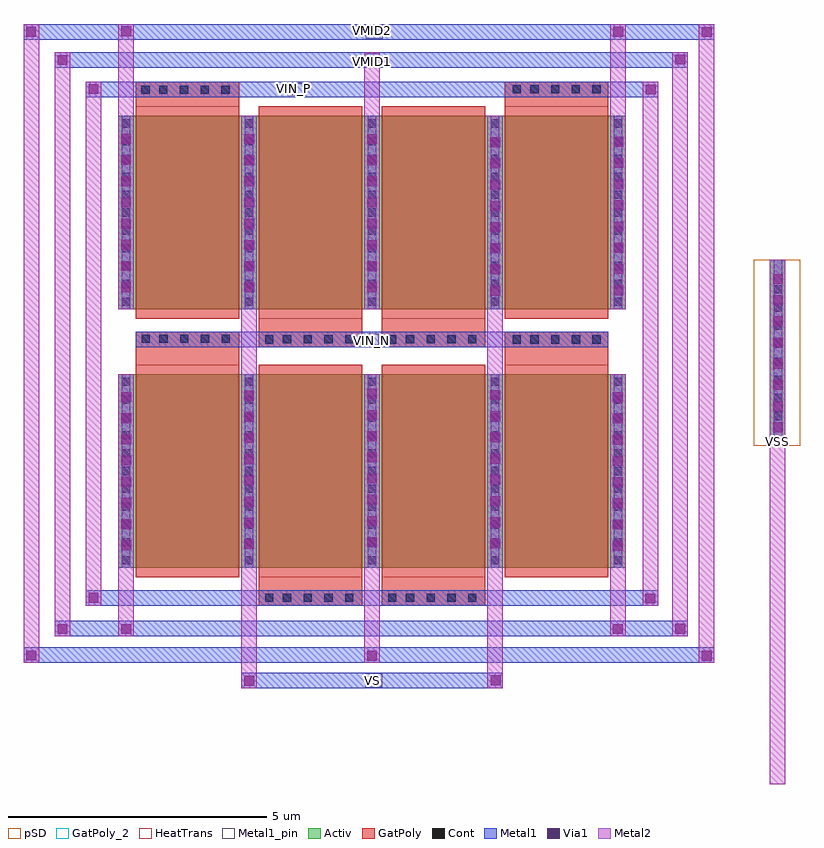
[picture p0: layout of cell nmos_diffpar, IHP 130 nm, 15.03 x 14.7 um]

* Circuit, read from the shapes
.subckt nmos_diffpar VIN_N VIN_P VMID1 VMID2 VS VSS
XM1 VS VIN_N VMID1 VSS sg13_lv_nmos w=3.75u l=2u m=4
XM2 VS VIN_P VMID2 VSS sg13_lv_nmos w=3.75u l=2u m=4
.ends

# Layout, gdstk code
import gdstk
lib = gdstk.Library(unit=1e-6, precision=1e-09)
def R(c, l, rs):  # rectangles x0, y0, x1, y1
    for r in rs: c.add(gdstk.rectangle(r[:2], r[2:], *l))
def A(c, l, x, y, w, h, nx, ny, dx, dy):  # array of equal rectangles
    R(c, l, [(x+i*dx, y+j*dy, x+i*dx+w, y+j*dy+h) for i in range(nx) for j in range(ny)])
Activ = (1, 0)
GatPoly = (5, 0)
GatPoly_2 = (5, 2)
Cont = (6, 0)
Metal1 = (8, 0)
Metal1_pin = (8, 2)
Metal2 = (10, 0)
pSD = (14, 0)
Via1 = (19, 0)
HeatTrans = (51, 0)

nmos_2 = lib.new_cell('nmos$2')
A(nmos_2, Activ, 0, 0, 0.3, 0.3, 5, 1, 2.38, 0)
R(nmos_2, Activ, [(0,0,9.82,3.75)])
A(nmos_2, GatPoly, 0.34, -0.18, 2, 4.11, 4, 1, 2.38, 0)
R(nmos_2, GatPoly_2, [(0.34,-0.18,2.34,3.93), (0.34,-0.18,2.34,3.93)])
A(nmos_2, Cont, 0.07, 0.07, 0.16, 0.16, 5, 11, 2.38, 0.345)
A(nmos_2, Metal1, 0.07, 0, 0.16, 3.75, 5, 1, 2.38, 0)
R(nmos_2, Metal1_pin, [(0.07,0,0.23,3.75), (0.07,0,0.23,3.75), (2.45,0,2.61,3.75), (2.45,0,2.61,3.75)])
A(nmos_2, HeatTrans, 0.34, -0.18, 2, 4.11, 4, 1, 2.38, 0)
nmos_2.add(gdstk.Label('nmos', (1.34,1.875), layer=51, texttype=0))
nmos_2.add(gdstk.Label('nmos', (3.72,1.875), layer=51, texttype=0))
nmos_2.add(gdstk.Label('nmos', (6.1,1.875), layer=51, texttype=0))
nmos_2.add(gdstk.Label('nmos', (8.48,1.875), layer=51, texttype=0))

nmos_diffpar = lib.new_cell('nmos_diffpar')
R(nmos_diffpar, Activ, [(12.13,-2.693,12.43,0.907)])
R(nmos_diffpar, GatPoly, [(2.245,-5.787,4.245,-5.235), (4.625,-5.787,6.625,-5.235), (-0.135,-1.125,1.865,-0.488), (7.005,-1.125,9.005,-0.488), (2.245,-0.787,4.245,-0.235), (4.625,-0.787,6.625,-0.235), (-0.135,3.875,1.866,4.355), (7.005,3.875,9.006,4.355)])
A(nmos_diffpar, Cont, 12.21, -2.197, 0.16, 0.16, 1, 4, 0, 0.35)
A(nmos_diffpar, Cont, 12.21, -0.794, 0.16, 0.16, 1, 4, 0, 0.35)
R(nmos_diffpar, Cont, [(2.367,-5.714,2.527,-5.554), (4.747,-5.714,4.907,-5.554), (2.711,-5.712,2.871,-5.552), (3.112,-5.712,3.272,-5.552), (3.512,-5.712,3.672,-5.552), (3.913,-5.712,4.073,-5.552), (5.091,-5.712,5.251,-5.552), (5.492,-5.712,5.652,-5.552), (5.892,-5.712,6.052,-5.552), (6.293,-5.712,6.453,-5.552), (7.153,-0.717,7.313,-0.557), (7.497,-0.715,7.657,-0.555), (7.898,-0.715,8.058,-0.555), (8.298,-0.715,8.458,-0.555), (8.699,-0.715,8.859,-0.555), (2.367,-0.714,2.527,-0.554), (4.747,-0.714,4.907,-0.554), (2.711,-0.712,2.871,-0.552), (3.112,-0.712,3.272,-0.552), (3.512,-0.712,3.672,-0.552), (3.913,-0.712,4.073,-0.552), (5.091,-0.712,5.251,-0.552), (5.492,-0.712,5.652,-0.552), (5.892,-0.712,6.052,-0.552), (6.293,-0.712,6.453,-0.552), (-0.022,-0.703,0.138,-0.543), (0.322,-0.701,0.482,-0.541), (0.723,-0.701,0.883,-0.541), (1.123,-0.701,1.283,-0.541), (1.524,-0.701,1.684,-0.541), (-0.027,4.116,0.133,4.276), (0.317,4.118,0.477,4.278), (0.718,4.118,0.878,4.278), (1.118,4.118,1.278,4.278), (1.519,4.118,1.679,4.278), (7.152,4.124,7.312,4.284), (7.496,4.126,7.656,4.286), (7.897,4.126,8.057,4.286), (8.297,4.126,8.457,4.286), (8.698,4.126,8.858,4.286)])
R(nmos_diffpar, Metal1, [(1.908,-7.38,6.966,-7.08), (-2.306,-6.892,11.052,-6.592), (-1.704,-6.381,10.543,-6.081), (-1.103,-5.787,9.972,-5.488), (12.21,-2.693,12.37,0.907), (-0.135,-0.787,9.005,-0.488), (-1.103,4.055,9.972,4.355), (-1.704,4.626,10.543,4.926), (-2.306,5.168,11.052,5.468)])
R(nmos_diffpar, Metal1_pin, [(4.3,-7.366,4.628,-7.097), (4.343,-0.749,4.562,-0.52), (2.851,4.086,3.144,4.319), (4.316,4.649,4.579,4.905), (4.313,5.185,4.646,5.458)])
R(nmos_diffpar, Metal2, [(12.13,-9.235,12.43,0.907), (1.908,-7.38,2.208,3.695), (6.666,-7.38,6.966,3.695), (-2.306,-6.892,-2.006,5.468), (4.286,-6.892,4.586,-1.305), (10.753,-6.892,11.053,5.468), (-0.475,-6.381,-0.175,-1.305), (9.045,-6.381,9.345,-1.305), (-1.704,-6.38,-1.404,4.926), (10.243,-6.38,10.543,4.926), (-1.103,-5.787,-0.803,4.355), (-1.103,-5.787,-0.803,4.355), (9.672,-5.787,9.972,4.355), (-0.474,-0.055,-0.174,5.468), (4.286,-0.055,4.586,4.926), (9.046,-0.055,9.345,5.468)])
R(nmos_diffpar, pSD, [(11.821,-2.693,12.721,0.907)])
A(nmos_diffpar, Via1, 9.096, -4.72, 0.19, 0.19, 1, 8, 0, 0.41)
A(nmos_diffpar, Via1, -0.417, -4.712, 0.19, 0.19, 1, 8, 0, 0.41)
A(nmos_diffpar, Via1, 1.959, -4.687, 0.19, 0.19, 1, 8, 0, 0.41)
A(nmos_diffpar, Via1, 6.722, -4.676, 0.19, 0.19, 1, 8, 0, 0.41)
A(nmos_diffpar, Via1, 4.339, -4.651, 0.19, 0.19, 1, 8, 0, 0.41)
A(nmos_diffpar, Via1, 12.193, -2.429, 0.19, 0.19, 1, 8, 0, 0.41)
A(nmos_diffpar, Via1, 6.721, 0.213, 0.19, 0.19, 1, 8, 0, 0.41)
A(nmos_diffpar, Via1, 9.106, 0.224, 0.19, 0.19, 1, 8, 0, 0.41)
A(nmos_diffpar, Via1, 4.34, 0.278, 0.19, 0.19, 1, 8, 0, 0.41)
A(nmos_diffpar, Via1, 1.962, 0.279, 0.19, 0.19, 1, 8, 0, 0.41)
A(nmos_diffpar, Via1, -0.42, 0.281, 0.19, 0.19, 1, 8, 0, 0.41)
R(nmos_diffpar, Via1, [(1.961,-7.331,2.151,-7.141), (6.733,-7.322,6.923,-7.132), (4.337,-6.849,4.527,-6.659), (10.812,-6.846,11.002,-6.656), (-2.254,-6.843,-2.064,-6.653), (-0.418,-6.332,-0.228,-6.142), (-1.648,-6.331,-1.458,-6.141), (9.091,-6.331,9.281,-6.141), (10.303,-6.326,10.493,-6.136), (9.72,-5.743,9.91,-5.553), (-1.05,-5.726,-0.86,-5.536), (9.731,4.105,9.921,4.295), (-1.049,4.116,-0.859,4.306), (4.343,4.674,4.533,4.864), (-1.648,4.676,-1.458,4.866), (10.305,4.685,10.495,4.875), (10.815,5.218,11.005,5.408), (9.102,5.225,9.292,5.415), (-2.257,5.226,-2.067,5.416), (-0.417,5.23,-0.227,5.42)])
r = gdstk.Reference(nmos_2, (-0.475,-5.055)); r.repetition = gdstk.Repetition(1, 2, v1=(0,0), v2=(0,5)); nmos_diffpar.add(r)
nmos_diffpar.add(gdstk.Label('VSS', (12.273,-2.605), layer=8, texttype=1))
nmos_diffpar.add(gdstk.Label('VMID1', (4.441,4.752), layer=8, texttype=1))
nmos_diffpar.add(gdstk.Label('VMID2', (4.445,5.336), layer=8, texttype=1))
nmos_diffpar.add(gdstk.Label('VS', (4.447,-7.233), layer=8, texttype=1))
nmos_diffpar.add(gdstk.Label('VIN_N', (4.416,-0.662), layer=8, texttype=1))
nmos_diffpar.add(gdstk.Label('VIN_P', (2.921,4.211), layer=8, texttype=1))

lib.write_gds('nmos_diffpar.gds')
